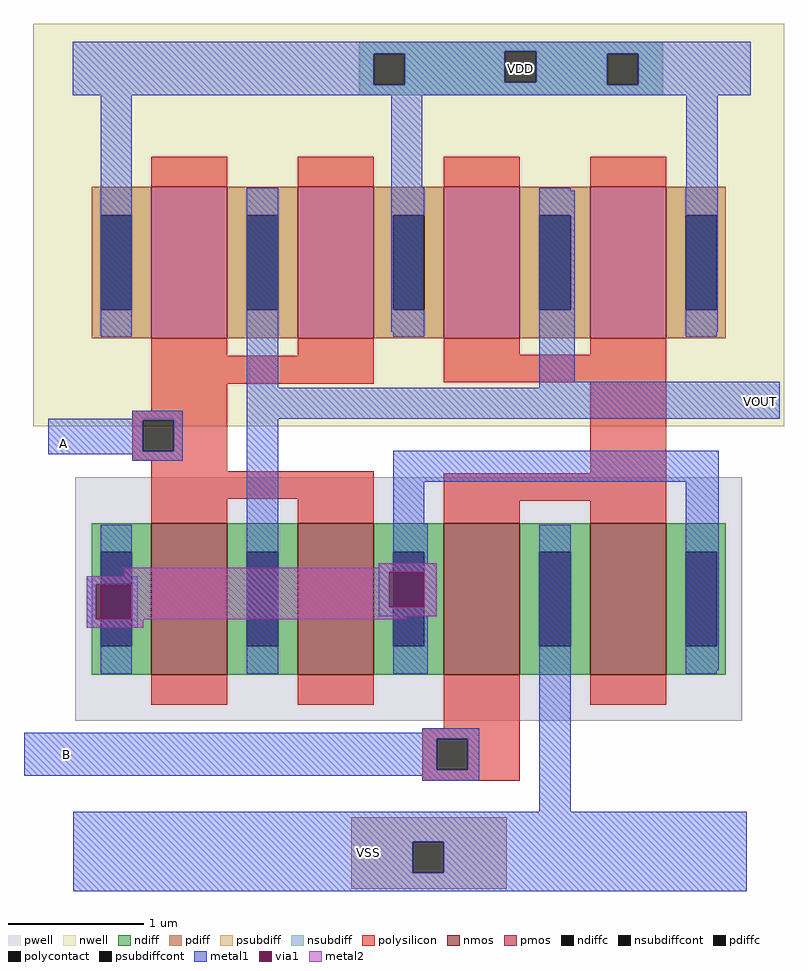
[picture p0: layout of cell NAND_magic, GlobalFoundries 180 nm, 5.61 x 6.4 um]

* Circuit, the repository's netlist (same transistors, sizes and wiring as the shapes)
* NGSPICE file created from NAND_magic.ext - technology: gf180mcuD

.subckt pmos_3p3_VZX6F7 a_164_n112# a_n164_n156# a_n252_n112# a_52_n156# w_n338_n242#
+ a_n52_n112#
X0 a_164_n112# a_52_n156# a_n52_n112# w_n338_n242# pfet_03v3 ad=0.4928p pd=3.12u as=0.2912p ps=1.64u w=1.12u l=0.56u
X1 a_n52_n112# a_n164_n156# a_n252_n112# w_n338_n242# pfet_03v3 ad=0.2912p pd=1.64u as=0.4928p ps=3.12u w=1.12u l=0.56u
.ends

.subckt nmos_3p3_F2UGVV a_164_n112# a_n164_n156# a_n252_n112# a_52_n156# a_n52_n112#
+ VSUBS
X0 a_164_n112# a_52_n156# a_n52_n112# VSUBS nfet_03v3 ad=0.4928p pd=3.12u as=0.2912p ps=1.64u w=1.12u l=0.56u
X1 a_n52_n112# a_n164_n156# a_n252_n112# VSUBS nfet_03v3 ad=0.2912p pd=1.64u as=0.4928p ps=3.12u w=1.12u l=0.56u
.ends

.subckt NAND_magic A B VOUT VDD VSS
Xpmos_3p3_VZX6F7_1 VDD A VDD A VDD VOUT pmos_3p3_VZX6F7
Xpmos_3p3_VZX6F7_2 VDD B VDD B VDD VOUT pmos_3p3_VZX6F7
Xnmos_3p3_F2UGVV_0 m1_79_n355# B m1_79_n355# B VSS VSS nmos_3p3_F2UGVV
Xnmos_3p3_F2UGVV_1 m1_79_n355# A m1_79_n355# A VOUT VSS nmos_3p3_F2UGVV
.ends

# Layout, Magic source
magic
tech gf180mcuD
magscale 1 10
<< nwell >>
rect 0 391 1108 536
<< psubdiff >>
rect 469 -671 699 -635
rect 469 -717 560 -671
rect 606 -717 699 -671
rect 469 -741 699 -717
<< nsubdiff >>
rect 481 496 929 510
rect 481 492 696 496
rect 481 446 502 492
rect 548 450 696 492
rect 742 492 929 496
rect 742 450 847 492
rect 548 446 847 450
rect 893 446 929 492
rect 481 431 929 446
<< psubdiffcont >>
rect 560 -717 606 -671
<< nsubdiffcont >>
rect 502 446 548 492
rect 696 450 742 496
rect 847 446 893 492
<< polysilicon >>
rect 174 5 502 46
rect 606 7 934 48
rect 174 -35 286 5
rect 146 -49 286 -35
rect 146 -95 161 -49
rect 207 -95 286 -49
rect 146 -109 286 -95
rect 174 -124 286 -109
rect 174 -165 502 -124
rect 822 -127 934 7
rect 606 -168 934 -127
rect 606 -504 718 -464
rect 574 -519 718 -504
rect 574 -565 595 -519
rect 641 -565 718 -519
rect 574 -581 718 -565
<< polycontact >>
rect 161 -95 207 -49
rect 595 -565 641 -519
<< metal1 >>
rect 58 496 1059 510
rect 58 492 696 496
rect 58 446 502 492
rect 548 450 696 492
rect 742 492 1059 496
rect 742 450 847 492
rect 548 446 847 450
rect 893 446 1059 492
rect 58 431 1059 446
rect 99 74 145 431
rect 315 -1 361 294
rect 528 82 574 431
rect 747 290 793 294
rect 747 8 799 290
rect 964 82 1010 431
rect 747 -1 1102 8
rect 146 -47 220 -35
rect 22 -49 220 -47
rect 22 -95 161 -49
rect 207 -95 220 -49
rect 22 -99 220 -95
rect 146 -109 220 -99
rect 315 -47 1102 -1
rect 99 -279 145 -203
rect 79 -291 154 -279
rect 79 -343 92 -291
rect 144 -343 154 -291
rect 79 -355 154 -343
rect 99 -423 145 -355
rect 315 -423 361 -47
rect 531 -140 1012 -94
rect 531 -202 577 -140
rect 531 -260 582 -202
rect 510 -273 595 -260
rect 510 -325 525 -273
rect 577 -325 595 -273
rect 510 -338 595 -325
rect 531 -423 582 -338
rect 574 -510 658 -504
rect -14 -519 658 -510
rect -14 -565 595 -519
rect 641 -565 658 -519
rect -14 -574 658 -565
rect 574 -581 658 -574
rect 747 -627 793 -203
rect 963 -418 1012 -140
rect 963 -423 1009 -418
rect 59 -671 1053 -627
rect 59 -717 560 -671
rect 606 -717 1053 -671
rect 59 -744 1053 -717
<< via1 >>
rect 92 -343 144 -291
rect 525 -325 577 -273
<< metal2 >>
rect 510 -267 595 -260
rect 133 -273 595 -267
rect 133 -279 525 -273
rect 79 -291 525 -279
rect 79 -343 92 -291
rect 144 -325 525 -291
rect 577 -325 595 -273
rect 144 -338 595 -325
rect 144 -343 551 -338
rect 79 -355 162 -343
use nmos_3p3_F2UGVV  nmos_3p3_F2UGVV_0
transform 1 0 770 0 1 -313
box -276 -180 276 180
use nmos_3p3_F2UGVV  nmos_3p3_F2UGVV_1
transform 1 0 338 0 1 -313
box -276 -180 276 180
use pmos_3p3_VZX6F7  pmos_3p3_VZX6F7_1
transform 1 0 338 0 1 184
box -338 -242 338 242
use pmos_3p3_VZX6F7  pmos_3p3_VZX6F7_2
transform 1 0 770 0 1 184
box -338 -242 338 242
<< labels >>
flabel metal1 s 45 -83 45 -83 0 FreeSans 750 0 0 0 A
port 1 nsew
flabel metal1 s 49 -542 49 -542 0 FreeSans 750 0 0 0 B
port 2 nsew
flabel metal1 s 1074 -21 1074 -21 0 FreeSans 750 0 0 0 VOUT
port 3 nsew
rlabel metal1 590 431 847 510 0 VDD
port 4 nsew
rlabel metal1 430 -744 560 -630 0 VSS
port 5 nsew
<< end >>

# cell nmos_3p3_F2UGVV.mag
magic
tech gf180mcuD
magscale 1 10
<< pwell >>
rect -276 -180 276 180
<< nmos >>
rect -164 -112 -52 112
rect 52 -112 164 112
<< ndiff >>
rect -252 70 -164 112
rect -252 -70 -239 70
rect -193 -70 -164 70
rect -252 -112 -164 -70
rect -52 70 52 112
rect -52 -70 -23 70
rect 23 -70 52 70
rect -52 -112 52 -70
rect 164 70 252 112
rect 164 -70 193 70
rect 239 -70 252 70
rect 164 -112 252 -70
<< ndiffc >>
rect -239 -70 -193 70
rect -23 -70 23 70
rect 193 -70 239 70
<< polysilicon >>
rect -164 112 -52 156
rect 52 112 164 156
rect -164 -156 -52 -112
rect 52 -156 164 -112
<< metal1 >>
rect -239 70 -193 110
rect -239 -110 -193 -70
rect -23 70 23 110
rect -23 -110 23 -70
rect 193 70 239 110
rect 193 -110 239 -70
<< end >>

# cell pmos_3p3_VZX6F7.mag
magic
tech gf180mcuD
magscale 1 10
<< nwell >>
rect -338 -242 338 242
<< pmos >>
rect -164 -112 -52 112
rect 52 -112 164 112
<< pdiff >>
rect -252 70 -164 112
rect -252 -70 -239 70
rect -193 -70 -164 70
rect -252 -112 -164 -70
rect -52 70 52 112
rect -52 -70 -23 70
rect 23 -70 52 70
rect -52 -112 52 -70
rect 164 70 252 112
rect 164 -70 193 70
rect 239 -70 252 70
rect 164 -112 252 -70
<< pdiffc >>
rect -239 -70 -193 70
rect -23 -70 23 70
rect 193 -70 239 70
<< polysilicon >>
rect -164 112 -52 156
rect 52 112 164 156
rect -164 -156 -52 -112
rect 52 -156 164 -112
<< metal1 >>
rect -239 70 -193 110
rect -239 -110 -193 -70
rect -23 70 23 110
rect -23 -110 23 -70
rect 193 70 239 110
rect 193 -110 239 -70
<< end >>
